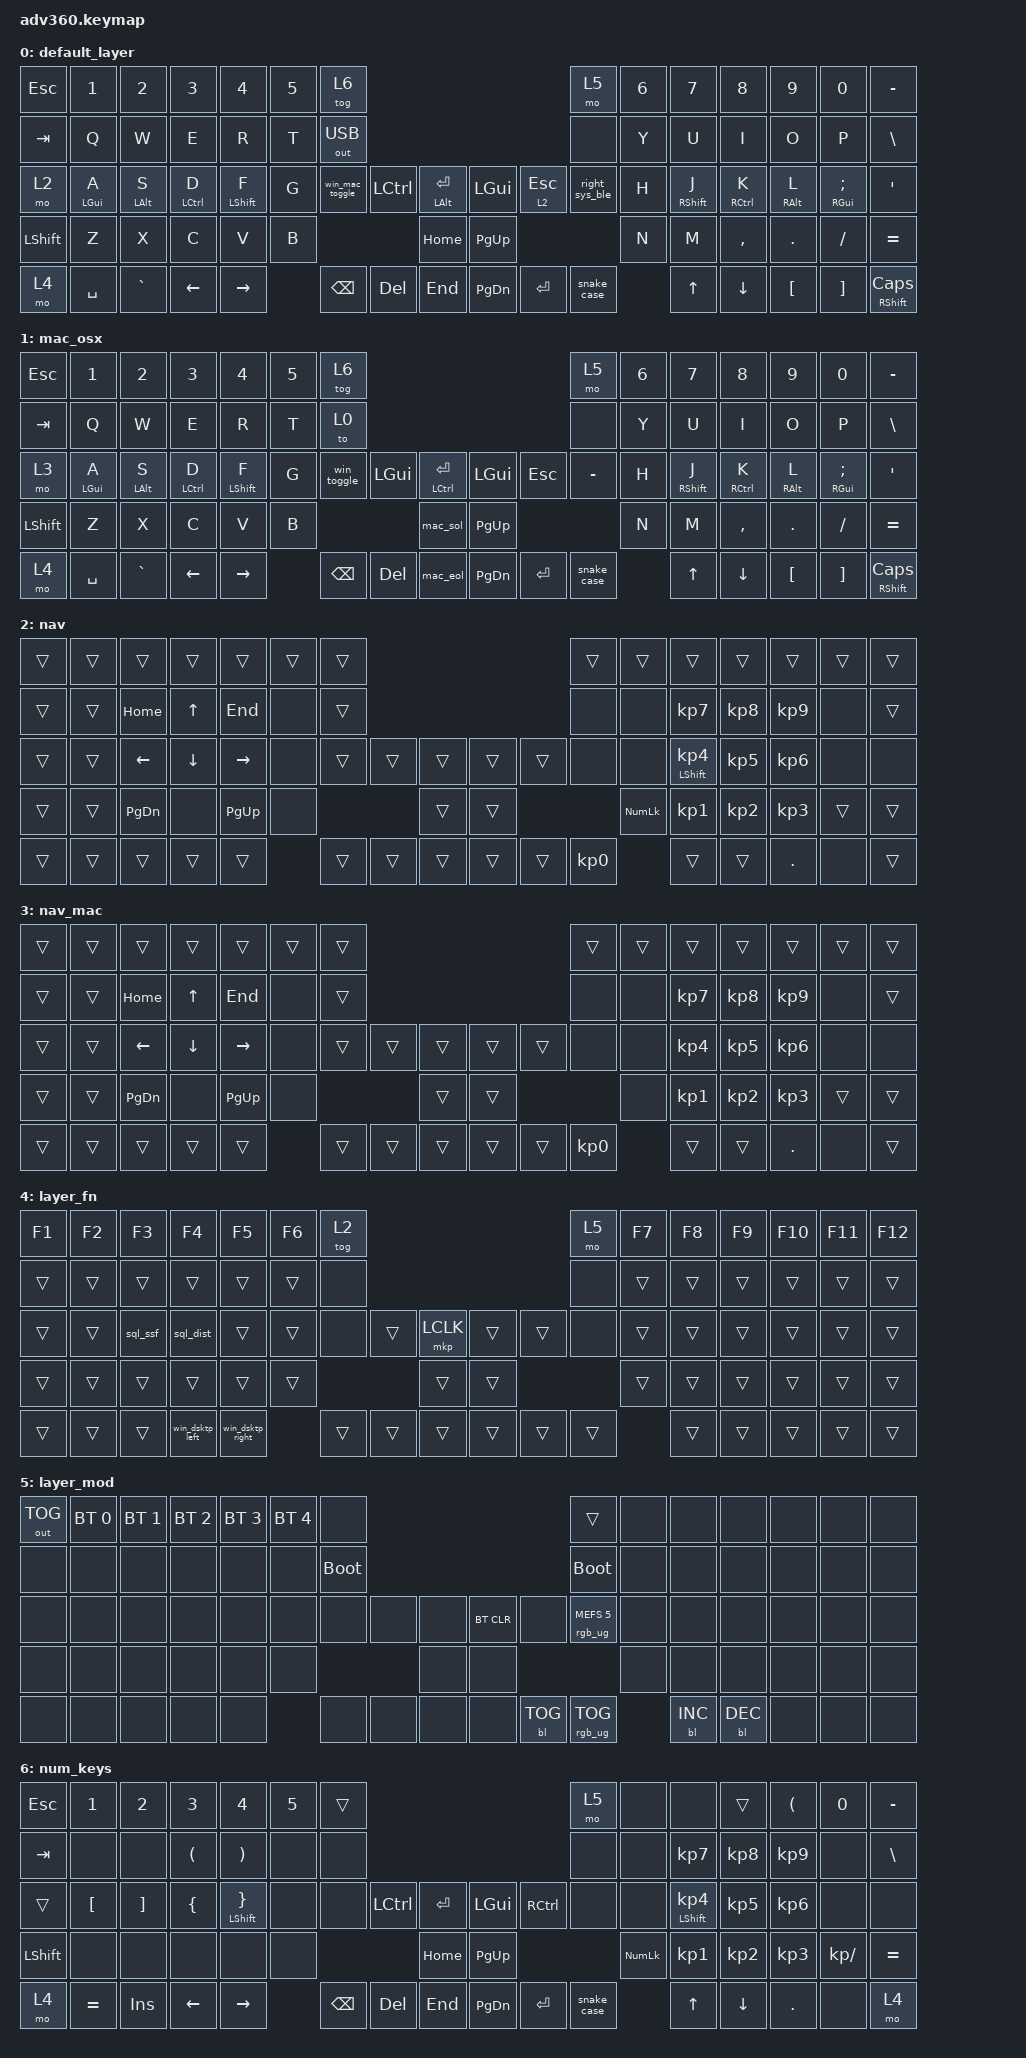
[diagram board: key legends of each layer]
/*
 * Copyright (c) 2020 The ZMK Contributors
 *
 * SPDX-License-Identifier: MIT
 */
/* THIS FILE WAS GENERATED!
 *
 * This file was generated automatically. You may or may not want to
 * edit it directly.
 */

#include <dt-bindings/zmk/stp.h>
#include <behaviors.dtsi>
#include <dt-bindings/zmk/backlight.h>
#include <dt-bindings/zmk/bt.h>
#include <dt-bindings/zmk/keys.h>
#include <dt-bindings/zmk/outputs.h>
#include <dt-bindings/zmk/pointing.h>
#include <dt-bindings/zmk/rgb.h>

&lt {
    tapping-term-ms = <225>;
    quick-tap-ms = <150>;
    flavor = "balanced";
};

&mt {
    tapping-term-ms = <170>;
    quick-tap-ms = <100>;
    flavor = "tap-preferred";
};

/ {
    behaviors {
        #include "macros.dtsi"
    #include "version.dtsi"

        hm: homerow_mods {
            compatible = "zmk,behavior-hold-tap";
            label = "HOMEROW_MODS";
            #binding-cells = <2>;
            tapping-term-ms = <200>;
            flavor = "tap-preferred";
            bindings = <&kp>, <&kp>;

            quick-tap-ms = <125>;
        };

        snake_case: snake_case {
            compatible = "zmk,behavior-mod-morph";
            label = "SNAKE_CASE";
            bindings = <&kp SPACE>, <&kp UNDER>;

            #binding-cells = <0>;
            mods = <(MOD_RSFT)>;
        };

        win_mac_toggle: win_mac_toggle {
            compatible = "zmk,behavior-mod-morph";
            label = "WIN_MAC_TOGGLE";
            bindings = <&left_sys_ble>, <&mac_toggle>;

            #binding-cells = <0>;
            mods = <(MOD_LCTL)>;
        };
    };

    macros {
        mac_eol: mac_eol {
            compatible = "zmk,behavior-macro";
            #binding-cells = <0>;
            bindings =
                <&macro_press>,
                <&kp LEFT_GUI>,
                <&macro_tap>,
                <&kp RIGHT>,
                <&macro_release>,
                <&kp LEFT_GUI>;

            label = "MAC_EOL";
        };

        mac_sol: mac_sol {
            compatible = "zmk,behavior-macro";
            #binding-cells = <0>;
            bindings =
                <&macro_press>,
                <&kp LEFT_GUI>,
                <&macro_tap>,
                <&kp LEFT>,
                <&macro_release>,
                <&kp LEFT_GUI>;

            label = "MAC_SOL";
        };

        sql_ssf: sql_ssf {
            compatible = "zmk,behavior-macro";
            #binding-cells = <0>;
            bindings =
                <&macro_tap>,
                <&kp S &kp E &kp L &kp E &kp C &kp T &kp SPACE &kp STAR &kp SPACE &kp F &kp R &kp O &kp M &kp SPACE>;

            label = "SQL_SSF";
        };

        mac_toggle: mac_toggle {
            compatible = "zmk,behavior-macro";
            #binding-cells = <0>;
            bindings = <&macro_tap>, <&out OUT_BLE &bt BT_SEL 1 &to 1>;

            label = "MAC_TOGGLE";
        };

        win_toggle: win_toggle {
            compatible = "zmk,behavior-macro";
            #binding-cells = <0>;
            bindings = <&macro_tap>, <&out OUT_USB &to 0>;

            label = "WIN_TOGGLE";
        };

        sql_dist: sql_dist {
            compatible = "zmk,behavior-macro";
            #binding-cells = <0>;
            bindings =
                <&macro_tap>,
                <&kp S &kp E &kp L &kp E &kp C &kp T &kp SPACE &kp D &kp I &kp S &kp T &kp I &kp N &kp C &kp T &kp SPACE>;

            label = "SQL_DIST";
        };

        win_dsktp_left: win_dsktp_left {
            compatible = "zmk,behavior-macro";
            #binding-cells = <0>;
            bindings =
                <&macro_press>,
                <&kp LEFT_GUI &kp LEFT_CONTROL>,
                <&macro_tap>,
                <&kp LEFT>,
                <&macro_release>,
                <&kp LEFT_GUI &kp LEFT_CONTROL>;

            label = "WIN_DSKTP_LEFT";
        };

        win_dsktp_right: win_dsktp_right {
            compatible = "zmk,behavior-macro";
            #binding-cells = <0>;
            bindings =
                <&macro_press>,
                <&kp LEFT_GUI &kp LEFT_CONTROL>,
                <&macro_tap>,
                <&kp RIGHT>,
                <&macro_release>,
                <&kp LEFT_GUI &kp LEFT_CONTROL>;

            label = "WIN_DSKTP_RIGHT";
        };

        left_sys_ble: left_sys_ble {
            compatible = "zmk,behavior-macro";
            #binding-cells = <0>;
            bindings = <&macro_tap>, <&out OUT_BLE &bt BT_SEL 2 &to 0>;

            label = "LEFT_SYS_BLE";
        };

        right_sys_ble: right_sys_ble {
            compatible = "zmk,behavior-macro";
            #binding-cells = <0>;
            bindings = <&macro_tap>, <&out OUT_BLE &bt BT_SEL 3 &to 0>;

            label = "RIGHT_SYS_BLE";
        };
    };

    combos {
        compatible = "zmk,combos";

        c_home {
            bindings = <&kp HOME>;
            key-positions = <41 32>;
            layers = <0 2>;
        };

        c_end {
            bindings = <&kp END>;
            key-positions = <43 32>;
            layers = <0 2>;
        };

        c_sublime_replace {
            bindings = <&kp LC(H)>;
            key-positions = <18 35>;
            layers = <0>;
        };

        mac_c_home {
            bindings = <&mac_sol>;
            key-positions = <41 32>;
            layers = <1>;
        };

        mac_c_end {
            bindings = <&mac_eol>;
            key-positions = <32 43>;
            layers = <1>;
        };

        mac_sublime_replace {
            bindings = <&kp LA(LG(F))>;
            key-positions = <18 35>;
            layers = <1>;
        };
    };

    keymap {
        compatible = "zmk,keymap";

        default_layer {
            bindings = <
&kp ESCAPE      &kp N1          &kp N2          &kp N3              &kp N4            &kp N5  &tog 6                                                                     &mo 5           &kp N6  &kp N7             &kp N8               &kp N9           &kp N0              &kp MINUS
&kp TAB         &kp Q           &kp W           &kp E               &kp R             &kp T   &out OUT_USB                                                               &none           &kp Y   &kp U              &kp I                &kp O            &kp P               &kp BSLH
&mo 2           &hm LEFT_GUI A  &hm LEFT_ALT S  &hm LEFT_CONTROL D  &hm LEFT_SHIFT F  &kp G   &win_mac_toggle  &kp LCTRL  &mt LEFT_ALT ENTER      &kp LGUI   &lt 2 ESC   &right_sys_ble  &kp H   &hm RIGHT_SHIFT J  &hm RIGHT_CONTROL K  &hm RIGHT_ALT L  &hm RIGHT_GUI SEMI  &kp SQT
&kp LEFT_SHIFT  &kp Z           &kp X           &kp C               &kp V             &kp B                               &kp HOME                &kp PG_UP                              &kp N   &kp M              &kp COMMA            &kp DOT          &kp FSLH            &kp EQUAL
&mo 4           &kp SPACE       &kp GRAVE       &kp LEFT            &kp RIGHT                 &kp BSPC         &kp DEL    &kp END                 &kp PG_DN  &kp RETURN  &snake_case             &kp UP             &kp DOWN             &kp LBKT         &kp RBKT            &hm RIGHT_SHIFT CAPSLOCK
            >;
        };

        mac_osx {
            bindings = <
&kp ESCAPE      &kp N1          &kp N2          &kp N3       &kp N4            &kp N5  &tog 6                                                                       &mo 5        &kp N6  &kp N7             &kp N8               &kp N9           &kp N0              &kp MINUS
&kp TAB         &kp Q           &kp W           &kp E        &kp R             &kp T   &to 0                                                                        &none        &kp Y   &kp U              &kp I                &kp O            &kp P               &kp BSLH
&mo 3           &hm LEFT_GUI A  &hm LEFT_ALT S  &hm LCTRL D  &hm LEFT_SHIFT F  &kp G   &win_toggle  &kp LEFT_GUI  &mt LEFT_CONTROL ENTER      &kp LGUI   &kp ESC    &kp MINUS    &kp H   &hm RIGHT_SHIFT J  &hm RIGHT_CONTROL K  &hm RIGHT_ALT L  &hm RIGHT_GUI SEMI  &kp SQT
&kp LEFT_SHIFT  &kp Z           &kp X           &kp C        &kp V             &kp B                              &mac_sol                    &kp PG_UP                          &kp N   &kp M              &kp COMMA            &kp DOT          &kp FSLH            &kp EQUAL
&mo 4           &kp SPACE       &kp GRAVE       &kp LEFT     &kp RIGHT                 &kp BSPC     &kp DEL       &mac_eol                    &kp PG_DN  &kp ENTER  &snake_case          &kp UP             &kp DOWN             &kp LBKT         &kp RBKT            &hm RIGHT_SHIFT CAPSLOCK
            >;
        };

        nav {
            bindings = <
&trans  &trans  &trans         &trans          &trans     &trans  &trans                                      &trans     &trans      &trans                &trans     &trans     &trans  &trans
&trans  &trans  &kp HOME       &kp UP_ARROW    &kp END    &none   &trans                                      &none      &none       &kp KP_N7             &kp KP_N8  &kp KP_N9  &none   &trans
&trans  &trans  &kp LEFT       &kp DOWN_ARROW  &kp RIGHT  &none   &trans  &trans  &trans      &trans  &trans  &none      &none       &hm LEFT_SHIFT KP_N4  &kp KP_N5  &kp KP_N6  &none   &none
&trans  &trans  &kp PAGE_DOWN  &none           &kp PG_UP  &none                   &trans      &trans                     &kp KP_NUM  &kp KP_N1             &kp KP_N2  &kp KP_N3  &trans  &trans
&trans  &trans  &trans         &trans          &trans             &trans  &trans  &trans      &trans  &trans  &kp KP_N0              &trans                &trans     &kp DOT    &none   &trans
            >;
        };

        nav_mac {
            bindings = <
&trans  &trans  &trans         &trans          &trans     &trans  &trans                                      &trans           &trans  &trans     &trans     &trans     &trans  &trans
&trans  &trans  &kp HOME       &kp UP_ARROW    &kp END    &none   &trans                                      &none            &none   &kp KP_N7  &kp KP_N8  &kp KP_N9  &none   &trans
&trans  &trans  &kp LEFT       &kp DOWN_ARROW  &kp RIGHT  &none   &trans  &trans  &trans      &trans  &trans  &none            &none   &kp KP_N4  &kp KP_N5  &kp KP_N6  &none   &none
&trans  &trans  &kp PAGE_DOWN  &none           &kp PG_UP  &none                   &trans      &trans                           &none   &kp KP_N1  &kp KP_N2  &kp KP_N3  &trans  &trans
&trans  &trans  &trans         &trans          &trans             &trans  &trans  &trans      &trans  &trans  &kp KP_NUMBER_0          &trans     &trans     &kp DOT    &none   &trans
            >;
        };

        layer_fn {
            bindings = <
&kp F1  &kp F2  &kp F3    &kp F4           &kp F5            &kp F6  &tog 2                                         &mo 5   &kp F7  &kp F8  &kp F9  &kp F10  &kp F11  &kp F12
&trans  &trans  &trans    &trans           &trans            &trans  &none                                          &none   &trans  &trans  &trans  &trans   &trans   &trans
&trans  &trans  &sql_ssf  &sql_dist        &trans            &trans  &none   &trans  &mkp LCLK      &trans  &trans  &none   &trans  &trans  &trans  &trans   &trans   &trans
&trans  &trans  &trans    &trans           &trans            &trans                  &trans         &trans                  &trans  &trans  &trans  &trans   &trans   &trans
&trans  &trans  &trans    &win_dsktp_left  &win_dsktp_right          &trans  &trans  &trans         &trans  &trans  &trans          &trans  &trans  &trans   &trans   &trans
            >;
        };

        layer_mod {
            bindings = <
&out OUT_TOG  &bt BT_SEL 0  &bt BT_SEL 1  &bt BT_SEL 2  &bt BT_SEL 3  &bt BT_SEL 4  &none                                                  &trans                  &none  &none       &none       &none  &none  &none
&none         &none         &none         &none         &none         &none         &bootloader                                            &bootloader             &none  &none       &none       &none  &none  &none
&none         &none         &none         &none         &none         &none         &none        &none  &none      &bt BT_CLR  &none       &rgb_ug RGB_MEFS_CMD 5  &none  &none       &none       &none  &none  &none
&none         &none         &none         &none         &none         &none                             &none      &none                                           &none  &none       &none       &none  &none  &none
&none         &none         &none         &none         &none                       &none        &none  &none      &none       &bl BL_TOG  &rgb_ug RGB_TOG                &bl BL_INC  &bl BL_DEC  &none  &none  &none
            >;
        };

        num_keys {
            bindings = <
&kp ESCAPE  &kp N1            &kp N2             &kp N3                &kp N4                      &kp N5  &trans                                                    &mo 5        &none           &none                 &trans           &kp LEFT_PARENTHESIS  &kp NUMBER_0   &kp MINUS
&kp TAB     &none             &none              &kp LEFT_PARENTHESIS  &kp RIGHT_PARENTHESIS       &none   &none                                                     &none        &none           &kp KP_NUMBER_7       &kp KP_NUMBER_8  &kp KP_NUMBER_9       &none          &kp BACKSLASH
&trans      &kp LEFT_BRACKET  &kp RIGHT_BRACKET  &kp LEFT_BRACE        &hm LEFT_SHIFT RIGHT_BRACE  &none   &none     &kp LCTRL  &kp ENTER      &kp LGUI   &kp RCTRL  &none        &none           &hm LEFT_SHIFT KP_N4  &kp KP_NUMBER_5  &kp KP_NUMBER_6       &none          &none
&kp LSHFT   &none             &none              &none                 &none                       &none                        &kp HOME       &kp PG_UP                          &kp KP_NUMLOCK  &kp KP_NUMBER_1       &kp KP_NUMBER_2  &kp KP_NUMBER_3       &kp KP_DIVIDE  &kp EQUAL
&mo 4       &kp EQUAL         &kp INSERT         &kp LEFT              &kp RIGHT                           &kp BSPC  &kp DEL    &kp END        &kp PG_DN  &kp ENTER  &snake_case                  &kp UP                &kp DOWN         &kp DOT               &none          &mo 4
            >;
        };
    };

    conditional_layers { compatible = "zmk,conditional-layers"; };
};
